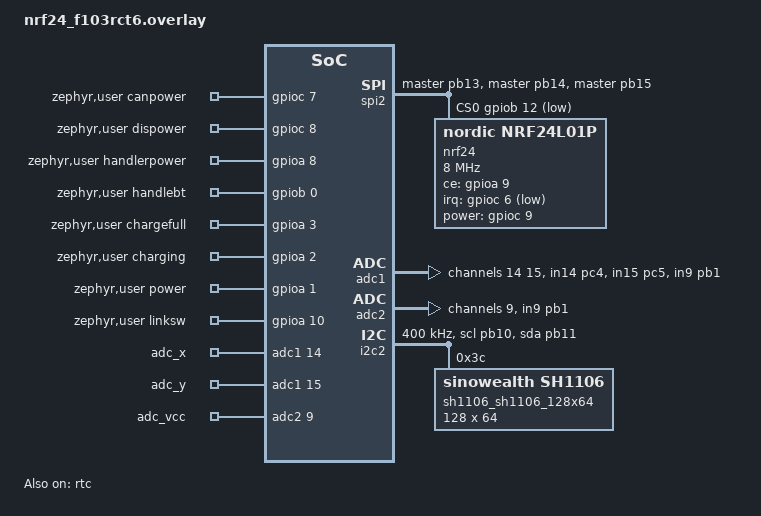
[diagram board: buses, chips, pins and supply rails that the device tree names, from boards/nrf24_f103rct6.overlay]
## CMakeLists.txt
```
# SPDX-License-Identifier: Apache-2.0

cmake_minimum_required(VERSION 3.20.0)

find_package(Zephyr REQUIRED HINTS $ENV{ZEPHYR_BASE})
project(angle_handler)

target_include_directories(app PRIVATE include)
target_sources(app PRIVATE
  src/adc.c
  src/can.c
  src/common.c
  src/display.c
  src/font_8x16.c
  src/font_5x8.c
  src/gpio.c
  src/rf24.c
  src/main.c
  src/persist.c
)
target_sources_ifdef(CONFIG_SHELL app PRIVATE
  src/rf24_shell.c
)
```

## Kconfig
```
# SPDX-License-Identifier: Apache-2.0
# angle-handler application configuration

mainmenu "angle-handler"

source "Kconfig.zephyr"

config ANGLE_HANDLER_ROW0_ASCII
	bool "Row 0 uses ASCII text instead of icons for connection type"
	default y
	help
	  Display "LoRa"/"CAN" text in Row 0 instead of bitmap icons.

config ANGLE_HANDLER_SCANNER_8X16
	bool "Use 8x16 font for scanner data rows"
	default y
	help
	  Use 8x16 font for overbreak/distance/coordinate display rows.
	  Disable to use 5x8 compact font.

config ANGLE_HANDLER_SHOW_XYZ
	bool "Show XYZ coordinate rows on display"
	default n
	help
	  Display X/Y/Z coordinate rows (Row 2-3). Disable to show only
	  overbreak and laser distance.
```

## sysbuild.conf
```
SB_CONFIG_BOOTLOADER_MCUBOOT=y
SB_CONFIG_MCUBOOT_MODE_SWAP_SCRATCH=y
SB_CONFIG_BOOT_SIGNATURE_KEY_FILE="${APP_DIR}/boards/nrf24_f103rct6.pem"
```

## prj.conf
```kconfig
CONFIG_MAIN_STACK_SIZE=2048
CONFIG_SYSTEM_WORKQUEUE_STACK_SIZE=2048
# shell
CONFIG_SHELL=y
CONFIG_FLASH_MAP_SHELL=y
CONFIG_FLASH_SHELL=y

CONFIG_SERIAL=y
CONFIG_GPIO=y
CONFIG_LOG=y
# 增大缓冲 + 缓冲满时阻塞而非丢弃 (调试高频 log 不丢)
CONFIG_LOG_BUFFER_SIZE=4096
CONFIG_LOG_BLOCK_IN_THREAD=y

# 软件栈溢出检测 (Cortex-M3 无 SPLIM, 板级未开 ARM_MPU, 故 HW_STACK_PROTECTION
# 无效; STACK_SENTINEL 在线程栈底埋 magic, 上下文切换/中断退出时检查,
# 踩踏 → K_ERR_STACK_CHK_FAIL fatal)
CONFIG_STACK_SENTINEL=y

# can
CONFIG_CAN=y
CONFIG_CAN_SHELL=y
CONFIG_CAN_FW_UPGRADE=y

# spi + nRF24L01+ 2.4G 无线
CONFIG_SPI=y
CONFIG_NRF24L01P=y

# nRF24 链路层 XXTEA-CTR 加密 (用 rf24 地址作密钥; 须与 n2e-gw 同时开关)
CONFIG_NRF24L01P_CRYPT=n

# adc
CONFIG_ADC=y

# img
CONFIG_IMG_MANAGER=y
CONFIG_STREAM_FLASH=y

# reboot
CONFIG_REBOOT=y

# i2c
CONFIG_I2C=y

#CRC
CONFIG_CRC=y

# hwinfo: 读 STM32 96-bit UID 派生 5B nRF24 地址 (HWINFO_STM32 默认随 SOC 自动启用)
CONFIG_HWINFO=y

# display
CONFIG_DISPLAY=y
# CONFIG_CHARACTER_FRAMEBUFFER=y

# Settings persistent storage (FCB backend)
CONFIG_SETTINGS=y
CONFIG_SETTINGS_RUNTIME=y
CONFIG_FCB=y

# PM
CONFIG_PM=y
CONFIG_PM_DEVICE=y
CONFIG_PM_DEVICE_SYSTEM_MANAGED=y
CONFIG_PM_DEVICE_SHELL=y
# 自定义 PM policy: sleeping 时无视任何定时器强制进 STOP, 保证真正进入低功耗
CONFIG_PM_POLICY_CUSTOM=y

# Display layout
CONFIG_ANGLE_HANDLER_ROW0_ASCII=y
CONFIG_ANGLE_HANDLER_SCANNER_8X16=y
# CONFIG_ANGLE_HANDLER_SHOW_XYZ is not set
```

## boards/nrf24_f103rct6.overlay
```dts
/ {
	chosen {
		zephyr,settings-partition = &cfg_partition;
		zephyr,display = &sh1106_sh1106_128x64;
	};

	zephyr,user {
		canpower-gpios = <&gpioc 7 GPIO_ACTIVE_HIGH>;
		dispower-gpios = <&gpioc 8 GPIO_ACTIVE_HIGH>;
		handlerpower-gpios = <&gpioa 8 GPIO_ACTIVE_HIGH>;

		handlebt-gpios = <&gpiob 0 GPIO_ACTIVE_HIGH>;

		chargefull-gpios = <&gpioa 3 GPIO_PULL_UP>;
		charging-gpios = <&gpioa 2 GPIO_PULL_UP>;
		power-gpios = <&gpioa 1 GPIO_PULL_UP>;
		linksw-gpios = <&gpioa 10 GPIO_PULL_UP>;

		io-channels = <&adc1 14>, <&adc1 15>, <&adc2 9>;
		io-channel-names = "adc_x", "adc_y", "adc_vcc";
	};
};

&spi2 {
	pinctrl-0 = <&spi2_sck_master_pb13
		     &spi2_miso_master_pb14
		     &spi2_mosi_master_pb15>;
	pinctrl-names = "default";
	cs-gpios = <&gpiob 12 GPIO_ACTIVE_LOW>;
	status = "okay";

	nrf24: nrf24l01p@0 {
		compatible = "nordic,nrf24l01p";
		reg = <0x0>;
		spi-max-frequency = <8000000>;
		ce-gpios = <&gpioa 9 GPIO_ACTIVE_HIGH>;
		irq-gpios = <&gpioc 6 GPIO_ACTIVE_LOW>;
		power-gpios = <&gpioc 9 GPIO_ACTIVE_HIGH>;
		channel = <1>;
		data-rate = "1m";
		tx-power = "0dbm";
		/* 半双工冲突优化: 缩短单次 TX 最坏占用 (ARD×ARC), 让冲突后更快切回
		 * PRX 给对端 ACK 机会. ARD=1500us + ARC=9 → 最坏 ~13.5ms (默认 4ms×15=60ms). */
		ard-us = <1500>;
		arc = <9>;
	};
};

&adc1 {
    status = "okay";
    pinctrl-0 = <&adc1_in14_pc4 &adc1_in15_pc5 &adc1_in9_pb1>;
    pinctrl-names = "default";
    #address-cells = <1>;
    #size-cells = <0>;

    channel@e {
        reg = <14>;
        zephyr,gain = "ADC_GAIN_1";
        zephyr,reference = "ADC_REF_INTERNAL";
        zephyr,acquisition-time = <ADC_ACQ_TIME_DEFAULT>;
        zephyr,resolution = <12>;
    };

    channel@f {
        reg = <15>;
        zephyr,gain = "ADC_GAIN_1";
        zephyr,reference = "ADC_REF_INTERNAL";
        zephyr,acquisition-time = <ADC_ACQ_TIME_DEFAULT>;
        zephyr,resolution = <12>;
    };


};
&adc2 {
    status = "okay";
    pinctrl-0 = <&adc2_in9_pb1>;
    pinctrl-names = "default";
    #address-cells = <1>;
    #size-cells = <0>;
    channel@9 {
        reg = <9>;
        zephyr,gain = "ADC_GAIN_1";
        zephyr,reference = "ADC_REF_INTERNAL";
        zephyr,acquisition-time = <ADC_ACQ_TIME_DEFAULT>;
        zephyr,resolution = <12>;
    };
};

&rtc {
    clocks = <&rcc STM32_CLOCK_BUS_APB1 0x10000000>,
             <&rcc STM32_SRC_LSI RTC_SEL(2)>;
    status = "okay";
};

/* OLED 显示 (SH1106 @ 0x3C, I2C2, 400kHz 快速模式) */
&i2c2 {
	clock-frequency = <400000>;
	pinctrl-0 = <&i2c2_scl_pb10 &i2c2_sda_pb11>;
	pinctrl-1 = <&analog_pb11 &analog_pb11>;
	pinctrl-names = "default", "sleep";
	status = "okay";

	sh1106_sh1106_128x64: ssd1306@3c {
		compatible = "sinowealth,sh1106";
		reg = <0x3c>;
		width = <128>;
		height = <64>;
		segment-offset = <2>;
		page-offset = <0>;
		display-offset = <0>;
		multiplex-ratio = <63>;
		segment-remap;
		com-invdir;
		prechargep = <0x22>;
		ready-time-ms = <100>;
	};
};

/* PM 低功耗状态: 外设电源由应用层 system_sleep/system_wake 管理 (GPIO 断电),
 * PM 子系统进 STOP 时挂起设备 (I2C2 经 sleep pinctrl 切 analog 释放总线,
 * 唤醒后自动恢复) —— 防止 OLED 断电期间 I2C 总线被拉低卡死、唤醒后无法恢复。 */
&stop0 {
};

&stop1 {
};
```

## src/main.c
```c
/*
 * Copyright (c) 2026 Kabirz.
 * SPDX-License-Identifier: Apache-2.0
 *
 * 主入口 + 主循环 (休眠/唤醒事件驱动, 10 分钟无操作自动休眠)
 */

#include <zephyr/app_version.h>
#include <fw_gitver.h>
#ifndef CONFIG_FLASH_SIZE
#define CONFIG_FLASH_SIZE 0x1000
#endif
#include <zephyr/logging/log.h>
#include <common.h>
#include <mod-can.h>
#include <display.h>
#include <mod-gpio.h>
#include <rf24.h>
#include <zephyr/settings/settings.h>

LOG_MODULE_REGISTER(main_app, LOG_LEVEL_INF);

#define ACTIVITY_TIMEOUT_MS (10 * 60 * 1000) /* 10 minutes */

volatile uint32_t last_activity_time;
extern int adc_init_channels(void);

int main(void)
{
	LOG_INF("build time: %s-%s", __DATE__, __TIME__);
	LOG_INF("board: %s, system clk: %dMHz", CONFIG_BOARD_TARGET,
		CONFIG_SYS_CLOCK_HW_CYCLES_PER_SEC / MHZ(1));
	LOG_INF("flash size: %dKB, ram size: %dKB", CONFIG_FLASH_SIZE, CONFIG_SRAM_SIZE);
	LOG_INF("version: v%d.%d.%d_%s", APP_VERSION_MAJOR, APP_VERSION_MINOR,
		APP_PATCHLEVEL, FW_GIT_VERSION);

	last_activity_time = k_uptime_get_32();
	adc_init_channels();
	gpio_init();

	settings_load();

	connect_switch(global_params.connect_type);

	while (1) {
		if (atomic_get(&global_params.sleeping)) {
			k_event_wait(&global_params.event, WAKE_EVENT, false, K_FOREVER);
			continue;
		}

		if ((k_uptime_get_32() - last_activity_time) > ACTIVITY_TIMEOUT_MS) {
			system_sleep();
			LOG_INF("system entering sleep (inactivity timeout)");
			continue;
		}

		k_sleep(K_MSEC(500));
	}

	return 0;
}
```

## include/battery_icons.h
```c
// ============================================================
// Battery Icons for SH1106 Display (24x16, icon 24x10 centered)
// Format: Column-major, page-interleaved, LSB=top pixel
// 2 pages x 24 columns = 48 bytes per icon
// ============================================================

#ifndef BATTERY_ICONS_H
#define BATTERY_ICONS_H

#include <stdint.h>

#define BATTERY_ICON_W  24
#define BATTERY_ICON_H  16
#define BATTERY_ICON_PAGES  2
#define BATTERY_ICON_SIZE  (48)

// battery_levels[level] : level 0..4
// Data order: page0 cols[0..23] then page1 cols[0..23]
// [0] = battery_0
//     ........................
//     ........................
//     ........................
//     ######################..
//     #....................#..
//     #....................###
//     #....................###
//     #....................###
//     #....................###
//     #....................###
//     #....................###
//     #....................#..
//     ######################..
//     ........................
//     ........................
//     ........................
// [1] = battery_1
//     ........................
//     ........................
//     ........................
//     ######################..
//     #####................#..
//     #####................###
//     #####................###
//     #####................###
//     #####................###
//     #####................###
//     #####................###
//     #####................#..
//     ######################..
//     ........................
//     ........................
//     ........................
// [2] = battery_2
//     ........................
//     ........................
//     ........................
//     ######################..
//     #####.####...........#..
//     #####.####...........###
//     #####.####...........###
//     #####.####...........###
//     #####.####...........###
//     #####.####...........###
//     #####.####...........###
//     #####.####...........#..
//     ######################..
//     ........................
//     ........................
//     ........................
// [3] = battery_3
//     ........................
//     ........................
//     ........................
//     ######################..
//     #####.####.####......#..
//     #####.####.####......###
//     #####.####.####......###
//     #####.####.####......###
//     #####.####.####......###
//     #####.####.####......###
//     #####.####.####......###
//     #####.####.####......#..
//     ######################..
//     ........................
//     ........................
//     ........................
// [4] = battery_4
//     ........................
//     ........................
//     ........................
//     ######################..
//     #####.####.####.####.#..
//     #####.####.####.####.###
//     #####.####.####.####.###
//     #####.####.####.####.###
//     #####.####.####.####.###
//     #####.####.####.####.###
//     #####.####.####.####.###
//     #####.####.####.####.#..
//     ######################..
//     ........................
//     ........................
//     ........................
const uint8_t battery_levels[5][48] = {
    { // [0] level 0
        0xF8, 0x08, 0x08, 0x08, 0x08, 0x08, 0x08, 0x08, 0x08, 0x08, 0x08, 0x08,
        0x08, 0x08, 0x08, 0x08, 0x08, 0x08, 0x08, 0x08, 0x08, 0xF8, 0xE0, 0xE0,
        0x1F, 0x10, 0x10, 0x10, 0x10, 0x10, 0x10, 0x10, 0x10, 0x10, 0x10, 0x10,
        0x10, 0x10, 0x10, 0x10, 0x10, 0x10, 0x10, 0x10, 0x10, 0x1F, 0x07, 0x07
    },
    { // [1] level 1
        0xF8, 0xF8, 0xF8, 0xF8, 0xF8, 0x08, 0x08, 0x08, 0x08, 0x08, 0x08, 0x08,
        0x08, 0x08, 0x08, 0x08, 0x08, 0x08, 0x08, 0x08, 0x08, 0xF8, 0xE0, 0xE0,
        0x1F, 0x1F, 0x1F, 0x1F, 0x1F, 0x10, 0x10, 0x10, 0x10, 0x10, 0x10, 0x10,
        0x10, 0x10, 0x10, 0x10, 0x10, 0x10, 0x10, 0x10, 0x10, 0x1F, 0x07, 0x07
    },
    { // [2] level 2
        0xF8, 0xF8, 0xF8, 0xF8, 0xF8, 0x08, 0xF8, 0xF8, 0xF8, 0xF8, 0x08, 0x08,
        0x08, 0x08, 0x08, 0x08, 0x08, 0x08, 0x08, 0x08, 0x08, 0xF8, 0xE0, 0xE0,
        0x1F, 0x1F, 0x1F, 0x1F, 0x1F, 0x10, 0x1F, 0x1F, 0x1F, 0x1F, 0x10, 0x10,
        0x10, 0x10, 0x10, 0x10, 0x10, 0x10, 0x10, 0x10, 0x10, 0x1F, 0x07, 0x07
    },
    { // [3] level 3
        0xF8, 0xF8, 0xF8, 0xF8, 0xF8, 0x08, 0xF8, 0xF8, 0xF8, 0xF8, 0x08, 0xF8,
        0xF8, 0xF8, 0xF8, 0x08, 0x08, 0x08, 0x08, 0x08, 0x08, 0xF8, 0xE0, 0xE0,
        0x1F, 0x1F, 0x1F, 0x1F, 0x1F, 0x10, 0x1F, 0x1F, 0x1F, 0x1F, 0x10, 0x1F,
        0x1F, 0x1F, 0x1F, 0x10, 0x10, 0x10, 0x10, 0x10, 0x10, 0x1F, 0x07, 0x07
    },
    { // [4] level 4
        0xF8, 0xF8, 0xF8, 0xF8, 0xF8, 0x08, 0xF8, 0xF8, 0xF8, 0xF8, 0x08, 0xF8,
        0xF8, 0xF8, 0xF8, 0x08, 0xF8, 0xF8, 0xF8, 0xF8, 0x08, 0xF8, 0xE0, 0xE0,
        0x1F, 0x1F, 0x1F, 0x1F, 0x1F, 0x10, 0x1F, 0x1F, 0x1F, 0x1F, 0x10, 0x1F,
        0x1F, 0x1F, 0x1F, 0x10, 0x1F, 0x1F, 0x1F, 0x1F, 0x10, 0x1F, 0x07, 0x07
    }
};

#define CHARGING_ICON_W  16
#define CHARGING_ICON_H  16
#define CHARGING_ICON_PAGES  2
#define CHARGING_ICON_SIZE  (32)
// icon_charging
// ................
// ................
// ................
// ................
// .......##.......
// ......##........
// .....##.........
// ....######......
// ........##......
// .......##.......
// ......##........
// .....##.........
// ................
// ................
// ................
// ................
const uint8_t icon_charging[32] = {
        0x00, 0x00, 0x00, 0x00, 0x80, 0xC0, 0xE0, 0xB0, 0x90, 0x80, 0x00, 0x00, 0x00, 0x00, 0x00, 0x00,
        0x00, 0x00, 0x00, 0x00, 0x00, 0x08, 0x0C, 0x06, 0x03, 0x01, 0x00, 0x00, 0x00, 0x00, 0x00, 0x00
};

#endif // BATTERY_ICONS_H
```

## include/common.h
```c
#ifndef _MOD_COMMON_H
#define _MOD_COMMON_H

#include <zephyr/kernel.h>

typedef enum {
	BATTERY_STATUS_UNKNOWN = 0,
	BATTERY_STATUS_FULL,
	BATTERY_STATUS_CHARGING,
	BATTERY_STATUS_NOT_CHARGING,
	BATTERY_STATUS_DISCHARGING,
} battery_status_t;

typedef struct {
	int8_t overbreak_valid;
	int32_t overbreak_value;
	int8_t laser_valid;
	int32_t laser_distance;
	int8_t coord_xy_valid;
	int32_t coord_x;
	int32_t coord_y;
	int8_t coord_z_valid;
	int32_t coord_z;
} scanner_data_t;

#define WAKE_EVENT     BIT(0)
#define CAN_EVENT      BIT(2)
#define RF24_EVENT     BIT(3) /* 2.4G (nRF24L01+) 无线模式事件 */

typedef struct {
	int x_degree;
	int y_degree;
	uint8_t h_button;
	uint32_t power_mv;
#define CAN_TYPE   1
#define RF24_TYPE  2 /* 2.4G (nRF24L01+) 无线模式 */
#define REPORT_PERIOD_MS 800   /* 周期状态上报间隔，CAN/RF24 共用 */
	uint8_t connect_type;
	uint32_t report_period;
	battery_status_t battery_status;
	scanner_data_t scanner;
	uint8_t rssi;
	atomic_t sleeping;
	struct k_event event;
	bool log;
	bool adc_debug;   /* ADC 原始电压采样详细日志开关 (shell: adc log [0/1]) */
#define RF24_ADDR_LEN 5
#define RF24_FIXED_CH  1   /* nRF24 信道固定为 1, 不可配 */
	uint8_t rf24_addr[RF24_ADDR_LEN];
} global_params_t;

extern global_params_t global_params;

/* 按 connect_type 发送指定数据（CAN 帧 HANDLER_STATE / RF24 遥测）。
 * data/len 由调用方组装（CAN 通常 8 字节，RF24 7 字节）。返回 0 成功，<0 失败。
 */
int send_handler_state(const uint8_t *data, uint8_t len);

extern volatile uint32_t last_activity_time;

#endif
```

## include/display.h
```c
#ifndef _MOD_DISPLAY_H
#define _MOD_DISPLAY_H
#include <common.h>

void mod_display_reinit(void);
int mod_display_init(void);
void mod_display_clear(void);
/* 2.4G (nRF24L01+) 无线模式信号显示 */
void mod_display_rf24(uint8_t rssi);
void mod_display_battery(uint32_t mv, battery_status_t status);
void mod_display_can(void);

void mod_display_scanner(const scanner_data_t *s);
void mod_display_all(const global_params_t *params);

#endif
```

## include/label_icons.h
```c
// ============================================================
// Label Icons for SH1106 Display (8x16, content 8x10 centered)
// Format: page0 cols[0..7] then page1 cols[0..7]
// 2 pages x 8 columns = 16 bytes per icon
// ============================================================

#ifndef LABEL_ICONS_H
#define LABEL_ICONS_H

#include <stdint.h>

#define LABEL_ICON_W  8
#define LABEL_ICON_H  16
#define LABEL_ICON_PAGES  2
#define LABEL_ICON_SIZE  (16)

// label_can
//     ........
//     ........
//     ........
//     ########
//     ##...###
//     #.###.##
//     #.######
//     #.######
//     #.######
//     #.###.##
//     ##...###
//     ########
//     ########
//     ........
//     ........
//     ........
const uint8_t label_can[16] = {
        0xF8, 0x18, 0xE8, 0xE8, 0xE8, 0xD8, 0xF8, 0xF8, 0x1F, 0x1C, 0x1B, 0x1B, 0x1B, 0x1D, 0x1F, 0x1F
};

// label_rf24 (2.4G 无线图标)
//     ........
//     ........
//     ........
//     ########
//     #.######
//     #.######
//     #.######
//     #.######
//     #.######
//     #.######
//     #.....##
//     ########
//     ########
//     ........
//     ........
//     ........
const uint8_t label_rf24[16] = {
        0xF8, 0x08, 0xF8, 0xF8, 0xF8, 0xF8, 0xF8, 0xF8, 0x1F, 0x18, 0x1B, 0x1B, 0x1B, 0x1B, 0x1F, 0x1F
};

#endif // LABEL_ICONS_H
```

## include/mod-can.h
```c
#ifndef __MOD_CAN_H__
#define __MOD_CAN_H__

#include <zephyr/kernel.h>
#include <zephyr/drivers/can.h>
#include <common.h>

enum {
	RF24_CONFIG_CMD = 0x110,    /* 平台→手柄: 查询 rf24 地址 (信道固定为 1) */
	RF24_CONFIG_RESP = 0x111,   /* 手柄→平台: rf24 配置响应 */
	COBID_HEATBEAT = 0x763,
	TEST_FRAME = 0x777,
	HANDLER_STATE = 0x1E3,
	OVERBREAK_LASER = 0x263,
	COORD_XY = 0x363,
	COORD_Z = 0x463,
};

/* RF24_CONFIG_CMD 命令类型 */
enum rf24_config_cmd {
	RF24_CMD_GET_CONFIG = 0x02,  /* 查询配置: [cmd 1B][reserved 7B] */
};

int mod_can_send(struct can_frame *frame);

/**
 * @brief 解析扫描仪 CAN 数据 (0x263/0x363/0x463)
 *
 * @param frame CAN 接收帧
 */
void mod_can_parse_scanner(struct can_frame *frame);

#endif
```

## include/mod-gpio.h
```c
#ifndef __MOD_GPIO_H__
#define __MOD_GPIO_H__
#include <stdbool.h>
#include <common.h>
battery_status_t read_battery_status(void);
int gpio_init(void);
void connect_switch(uint8_t type);
void can_power_enable(bool up);
void dis_power_enable(bool up);
void handler_power_enable(bool up);
int handler_get_btn(void);
void system_sleep(void);
#endif
```

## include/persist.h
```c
/*
 * Copyright (c) 2026 Kabirz.
 * SPDX-License-Identifier: Apache-2.0
 *
 * Settings 持久化存储接口 - 使用 Zephyr settings 子系统 (FCB 后端)
 * 存储到外部 SPI Flash (GD25Q80) 的 cfg_partition
 */

#ifndef __PERSIST_H__
#define __PERSIST_H__

/** 保存当前 connect_type 到 settings */
void persist_save_connect_type(void);

/** 保存当前 rf24_addr 到 settings (信道固定为 1, 不持久化) */
void persist_save_rf24_config(void);

#endif
```

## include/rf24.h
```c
/*
 * Copyright (c) 2026 Kabirz.
 * SPDX-License-Identifier: Apache-2.0
 *
 * 2.4G 无线通信接口 (nRF24L01+)
 *
 * 帧格式 (单包 ≤ 32B): [CAN ID 2B BE][payload 0~30B]
 *   - 发送 (手柄→网关): ID = HANDLER_STATE (0x1E3),
 *     payload = [x 2B BE][y 2B BE][btn 1B][0xFF][0xFF][0xFF]
 *   - 接收 (网关→手柄): 按 CAN ID 分发到 mod_can_parse_scanner()
 *     (支持 OVERBREAK_LASER / COORD_XY / COORD_Z)
 */

#ifndef __RF24_H__
#define __RF24_H__

#include <stdbool.h>
#include <stddef.h>
#include <stdint.h>
#include <common.h>

/**
 * @brief nRF24L01+ 运行时初始化 (进入 PRX 接收模式, CE 拉高)
 *
 * 用于 CAN/2.4G 切换和系统唤醒. 设备由 SYS_INIT(POST_KERNEL) 自动初始化,
 * 本函数仅切换到接收模式.
 */
void rf24_init(void);

/**
 * @brief nRF24L01+ 去初始化 (进入 POWER_DOWN)
 *
 * 用于 CAN/2.4G 切换和系统休眠.
 */
void rf24_deinit(void);

/**
 * @brief 发送一帧 [CAN ID][数据] (2.4G 模式)
 *
 * @param can_id CAN 标识符 (写入帧头 2B BE)
 * @param data   载荷数据 (最多 30 字节)
 * @param len    载荷长度
 * @return true 发送成功, false 长度非法或发送失败
 */
bool rf24_data_send(uint16_t can_id, const uint8_t *data, size_t len);

/**
 * @brief 2.4G 链路状态
 *
 * nRF24L01+ 无硬件链路指示, 简化为常返回 true (假设在线).
 *
 * @return true
 */
bool rf24_get_link_status(void);

/**
 * @brief 测试帧 (TEST_FRAME 0x777) 接收回调 (rf24_shell.c 实现)
 *
 * 由 rf24.c RX 线程在收到 TEST_FRAME 时调用. 载荷为 [sub_cmd 1B][...].
 */
void rf24_test_handle_rx(const uint8_t *data, uint8_t len);

#endif /* __RF24_H__ */
```

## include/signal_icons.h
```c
// ============================================================
// Signal Icons for SH1106 Display (16x16)
// Format: page0 cols[0..15] then page1 cols[0..15]
// 2 pages x 16 columns = 32 bytes per icon
// ============================================================

#ifndef SIGNAL_ICONS_H
#define SIGNAL_ICONS_H

#include <stdint.h>

#define SIGNAL_ICON_W  16
#define SIGNAL_ICON_H  16
#define SIGNAL_ICON_PAGES  2
#define SIGNAL_ICON_SIZE  (32)

// signal_levels[level] : level 0..4
// Bar heights: 2, 4, 6, 8 px (bottom aligned)
// [0] level 0
//     ................
//     ................
//     ................
//     ................
//     ....##...##.....
//     .....##.##......
//     ......###.......
//     .......#........
//     ......###.......
//     .....##.##......
//     ....##...##.....
//     ................
//     ................
//     ................
//     ................
//     ................
// [1] level 1
//     ................
//     ................
//     ................
//     ................
//     ................
//     ................
//     ................
//     ................
//     ................
//     ................
//     ................
//     ..##............
//     ..##............
//     ................
//     ................
//     ................
// [2] level 2
//     ................
//     ................
//     ................
//     ................
//     ................
//     ................
//     ................
//     ................
//     ................
//     .....##.........
//     .....##.........
//     ..##.##.........
//     ..##.##.........
//     ................
//     ................
//     ................
// [3] level 3
//     ................
//     ................
//     ................
//     ................
//     ................
//     ................
//     ................
//     ........##......
//     ........##......
//     .....##.##......
//     .....##.##......
//     ..##.##.##......
//     ..##.##.##......
//     ................
//     ................
//     ................
// [4] level 4
//     ................
//     ................
//     ................
//     ................
//     ................
//     ...........##...
//     ...........##...
//     ........##.##...
//     ........##.##...
//     .....##.##.##...
//     .....##.##.##...
//     ..##.##.##.##...
//     ..##.##.##.##...
//     ................
//     ................
//     ................
const uint8_t signal_levels[5][32] = {
    { // [0] level 0
        0x00, 0x00, 0x00, 0x00, 0x10, 0x30, 0x60, 0xC0, 0x60, 0x30, 0x10, 0x00, 0x00, 0x00, 0x00, 0x00,
        0x00, 0x00, 0x00, 0x00, 0x04, 0x06, 0x03, 0x01, 0x03, 0x06, 0x04, 0x00, 0x00, 0x00, 0x00, 0x00
    },
    { // [1] level 1
        0x00, 0x00, 0x00, 0x00, 0x00, 0x00, 0x00, 0x00, 0x00, 0x00, 0x00, 0x00, 0x00, 0x00, 0x00, 0x00,
        0x00, 0x00, 0x18, 0x18, 0x00, 0x00, 0x00, 0x00, 0x00, 0x00, 0x00, 0x00, 0x00, 0x00, 0x00, 0x00
    },
    { // [2] level 2
        0x00, 0x00, 0x00, 0x00, 0x00, 0x00, 0x00, 0x00, 0x00, 0x00, 0x00, 0x00, 0x00, 0x00, 0x00, 0x00,
        0x00, 0x00, 0x18, 0x18, 0x00, 0x1E, 0x1E, 0x00, 0x00, 0x00, 0x00, 0x00, 0x00, 0x00, 0x00, 0x00
    },
    { // [3] level 3
        0x00, 0x00, 0x00, 0x00, 0x00, 0x00, 0x00, 0x00, 0x80, 0x80, 0x00, 0x00, 0x00, 0x00, 0x00, 0x00,
        0x00, 0x00, 0x18, 0x18, 0x00, 0x1E, 0x1E, 0x00, 0x1F, 0x1F, 0x00, 0x00, 0x00, 0x00, 0x00, 0x00
    },
    { // [4] level 4
        0x00, 0x00, 0x00, 0x00, 0x00, 0x00, 0x00, 0x00, 0x80, 0x80, 0x00, 0xE0, 0xE0, 0x00, 0x00, 0x00,
        0x00, 0x00, 0x18, 0x18, 0x00, 0x1E, 0x1E, 0x00, 0x1F, 0x1F, 0x00, 0x1F, 0x1F, 0x00, 0x00, 0x00
    }
};

#endif // SIGNAL_ICONS_H
```

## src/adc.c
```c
/*
 * Copyright (c) 2026 Kabirz.
 * SPDX-License-Identifier: Apache-2.0
 *
 * ADC 操纵杆角度采集 + 电源电压采样
 * 基于 Zephyr ADC API, 500ms 周期采集 X/Y 角度, 2s 周期采集电压
 */

#include <zephyr/kernel.h>
#include <zephyr/logging/log.h>
#include <zephyr/sys/util.h>
#include <zephyr/sys/byteorder.h>
#include <zephyr/drivers/adc.h>
#include <zephyr/shell/shell.h>
#include <stdlib.h>
#include <common.h>
#include <display.h>
#include <mod-gpio.h>

LOG_MODULE_REGISTER(adc_reader, LOG_LEVEL_INF);

#define CAN_SLEEP_MS  20
#define RF24_SLEEP_MS 50
#define DT_SPEC_AND_COMMA(node_id, prop, idx) ADC_DT_SPEC_GET_BY_IDX(node_id, idx),

static const struct adc_dt_spec adc_channels[] = {
	DT_FOREACH_PROP_ELEM(DT_PATH(zephyr_user), io_channels, DT_SPEC_AND_COMMA)};


int adc_init_channels(void)
{
	int ret;

	for (size_t i = 0U; i < ARRAY_SIZE(adc_channels); i++) {
		if (!device_is_ready(adc_channels[i].dev)) {
			LOG_ERR("ADC device not ready");
			return -ENODEV;
		}

		ret = adc_channel_setup_dt(&adc_channels[i]);
		if (ret < 0) {
			LOG_ERR("Could not setup channel #%d (%d)", adc_channels[i].channel_id,
				ret);
			return ret;
		}
	}

	LOG_INF("ADC channels configured successfully");

	return ret;
}

/* 去除两个极值后求平均值 */
static int32_t trim_avg(int32_t *samples, int count)
{
	int32_t min_v = samples[0];
	int32_t max_v = samples[0];
	int32_t sum = 0;

	for (int i = 0; i < count; i++) {
		if (samples[i] < min_v) {
			min_v = samples[i];
		}
		if (samples[i] > max_v) {
			max_v = samples[i];
		}
		sum += samples[i];
	}
	return (sum - min_v - max_v) / (count - 2);
}

void adc_read_thread(void)
{
	int ret;
	uint16_t buf;
	struct adc_sequence sequence = {.buffer = &buf, .buffer_size = sizeof(buf)};
	int32_t val_mv;

	#define XY_SAMPLE_COUNT 10
	static int32_t x_samples[XY_SAMPLE_COUNT];
	static int32_t y_samples[XY_SAMPLE_COUNT];
	static int xy_sample_idx = 0;

	LOG_INF("ADC read thread started");

	while (true) {
		if (atomic_get(&global_params.sleeping)) {
			k_event_wait(&global_params.event, WAKE_EVENT, false, K_FOREVER);
			continue;
		}
		uint32_t t1 = k_uptime_get_32();

		/* 连续快速采集 10 次 X/Y */
		for (xy_sample_idx = 0; xy_sample_idx < XY_SAMPLE_COUNT; xy_sample_idx++) {
			for (size_t i = 0U; i < ARRAY_SIZE(adc_channels) - 1; i++) {
				(void)adc_sequence_init_dt(&adc_channels[i], &sequence);
				ret = adc_read_dt(&adc_channels[i], &sequence);
				if (ret < 0) {
					LOG_ERR("Could not read (%d)", ret);
					continue;
				}
				val_mv = (int32_t)buf;

				ret = adc_raw_to_millivolts_dt(&adc_channels[i], &val_mv);
				if (ret < 0) {
					LOG_ERR(" (value in mV not available)");
				}
				/* ADC 直读电压 (无分压网络) 300~2700mV → -200~+200 (0.1° 单位) */
				if (i == 0) {
					x_samples[xy_sample_idx] =
						(CLAMP(val_mv, 300, 2700) - 300) * 400 / 2400 - 200;
					if (global_params.adc_debug) {
						LOG_INF("x: %d mv, degree: %d (0.1deg)", val_mv,
							x_samples[xy_sample_idx]);
					}
				} else {
					y_samples[xy_sample_idx] =
						(CLAMP(val_mv, 300, 2700) - 300) * 400 / 2400 - 200;
					if (global_params.adc_debug) {
						LOG_INF("y: %d mv, degree: %d (0.1deg)", val_mv,
							y_samples[xy_sample_idx]);
					}
				}
			}
			k_usleep(500);
		}

		/* 平均后按 1° 量化, 再 ×10 以 0.1° 单位上报 (trim_avg 返回 0.1° 单位,
		 * /10 取整后 ×10; ADC 实际精度达不到 0.1°, 故不保留个位小数).
		 * 死区: 平均值落在 (-1°, +1°) 即 (-10, +10) 的 0.1° 值统一归 0°,
		 * 消除摇杆居中时的微小抖动. */
		int x_avg = trim_avg(x_samples, XY_SAMPLE_COUNT);
		int y_avg = trim_avg(y_samples, XY_SAMPLE_COUNT);
		int x_degree = (x_avg > -10 && x_avg < 10) ? 0 : x_avg / 10 * 10;
		int y_degree = (y_avg > -10 && y_avg < 10) ? 0 : y_avg / 10 * 10;

		if (x_degree != global_params.x_degree ||
		    y_degree != global_params.y_degree) {
			last_activity_time = k_uptime_get_32();
			global_params.x_degree = x_degree;
			global_params.y_degree = y_degree;
		}

		/* 上报 */
		uint8_t buf[8];
		sys_put_be16((uint16_t)global_params.x_degree, &buf[0]);
		sys_put_be16((uint16_t)global_params.y_degree, &buf[2]);
		buf[4] = global_params.h_button;
		buf[5] = buf[6] = buf[7] = 0xff;
		if (global_params.log) {
			LOG_INF("x: %d (0.1deg), y: %d (0.1deg), button: %d",
				global_params.x_degree, global_params.y_degree, global_params.h_button);
		}
		send_handler_state(buf, 8);
		uint32_t diff = k_uptime_get_32() - t1;
		uint32_t sleep_ms = global_params.connect_type == CAN_TYPE ? CAN_SLEEP_MS : RF24_SLEEP_MS;
		if (diff < sleep_ms) {
			k_sleep(K_MSEC(sleep_ms - diff));
		}
	}
}
K_THREAD_DEFINE(thread_adc, 1024, adc_read_thread, NULL, NULL, NULL, 7, 0, 0);

void adc_power_thread(void)
{
	int ret;
	uint16_t buf;
	struct adc_sequence sequence = {.buffer = &buf, .buffer_size = sizeof(buf)};
	int32_t val_mv, power_mv = 0;
	static const struct adc_dt_spec *adc_voltage_channel = &adc_channels[ARRAY_SIZE(adc_channels) - 1];
	#define POWER_SAMPLE_COUNT 10
	static int32_t power_samples[POWER_SAMPLE_COUNT];
	static int power_sample_idx = 0;


	LOG_INF("ADC power thread started");
	(void)adc_sequence_init_dt(adc_voltage_channel, &sequence);

	while (true) {
		if (atomic_get(&global_params.sleeping)) {
			k_event_wait(&global_params.event, WAKE_EVENT, false, K_FOREVER);
			continue;
		}

		ret = adc_read_dt(adc_voltage_channel, &sequence);
		if (ret < 0) {
			LOG_ERR("Could not read power channel (%d)", ret);
		} else {
			val_mv = (int32_t)buf;
			ret = adc_raw_to_millivolts_dt(adc_voltage_channel, &val_mv);
			if (ret == 0) {
				power_samples[power_sample_idx] = val_mv * 2;
				power_sample_idx++;
			}
		}

		if (power_sample_idx >= POWER_SAMPLE_COUNT) {
			power_mv = trim_avg(power_samples, POWER_SAMPLE_COUNT);
			power_sample_idx = 0;

			battery_status_t battery_status = read_battery_status();
			if (power_mv != global_params.power_mv ||
			    global_params.battery_status != battery_status) {
				mod_display_battery(power_mv, battery_status);
				global_params.power_mv = power_mv;
				global_params.battery_status = battery_status;
			}
		}

		k_sleep(K_MSEC(200));
	}
}

K_THREAD_DEFINE(thread_adc_power, 1024, adc_power_thread, NULL, NULL, NULL, 8, 0, 0);

#ifdef CONFIG_SHELL

/* adc log [0/1] — 手动开关 ADC 原始电压采样日志 (val[i]: <mv>).
 * 默认编译期 LOG_LEVEL_INF 不打印每通道原始值, 此开关运行时打开用于调试. */
static int cmd_adc_log(const struct shell *ctx, size_t argc, char **argv)
{
	if (argc < 2) {
		shell_print(ctx, "adc log: %s", global_params.adc_debug ? "on" : "off");
		return 0;
	}
	int val = (int)strtol(argv[1], NULL, 10);

	global_params.adc_debug = (val != 0);
	shell_print(ctx, "adc log: %s", global_params.adc_debug ? "on" : "off");
	return 0;
}

SHELL_STATIC_SUBCMD_SET_CREATE(
	sub_adc_cmds,
	SHELL_CMD_ARG(log, NULL, "Enable/disable ADC raw sample log [0/1]", cmd_adc_log, 1, 1),
	SHELL_SUBCMD_SET_END);

SHELL_CMD_REGISTER(adc, &sub_adc_cmds, "ADC sample debug commands", NULL);

#endif /* CONFIG_SHELL */
```

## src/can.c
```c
/*
 * Copyright (c) 2026 Kabirz.
 * SPDX-License-Identifier: Apache-2.0
 *
 * CAN 总线收发 + 心跳线程 + 手柄状态上报 (0x1E3 BE)
 * + 扫描仪数据解析 (0x263/0x363/0x463)
 * CAN 接收与固件升级由 can_fw_upgrade 库自包含管理;
 * 本模块仅注册业务帧 callback 并提供业务帧发送。
 */

#include <zephyr/kernel.h>
#include <mod-can.h>
#include <display.h>
#include <zephyr/sys/byteorder.h>
#include <zephyr/logging/log.h>
#include <rf24.h>
#include <common.h>
#include <persist.h>
#include <can_fw_upgrade.h>
LOG_MODULE_REGISTER(mod_can, LOG_LEVEL_INF);

static const struct device *can_dev;	/* 由 mod_can_init() 从 can_fw_set_app_handler() 获取 */

/* ================================================================
 * CAN 发送
 * ================================================================ */
static void mod_cantx_callback(const struct device *dev, int error, void *user_data)
{
	ARG_UNUSED(dev);
	ARG_UNUSED(user_data);

	if (error) {
		LOG_ERR("CAN tx error: %d", error);
	}
}

int mod_can_send(struct can_frame *frame)
{
	if (!can_dev) {
		return -ENODEV;
	}

	return can_send(can_dev, frame, K_MSEC(100), mod_cantx_callback, NULL);
}

/* ================================================================
 * 扫描仪 CAN 数据解析 — 0x263/0x363/0x463, 大端序
 * ================================================================ */
void mod_can_parse_scanner(struct can_frame *frame)
{
	scanner_data_t *s = &global_params.scanner;

	switch (frame->id) {
	case OVERBREAK_LASER:
		/* Byte 0: flags (bit0=overbreak_valid, bit1=laser_valid)
		 * Byte 1: reserved
		 * Byte 2-3: overbreak_value (int16_t BE)
		 * Byte 4-7: laser_value (uint32_t BE)
		 */
		s->overbreak_valid = (frame->data[0] & 0x01) ? 1 : -1;
		s->laser_valid = (frame->data[0] & 0x02) ? 1 : -1;
		s->overbreak_value = (int16_t)sys_get_be16(&frame->data[2]);
		s->laser_distance = (int32_t)sys_get_be32(&frame->data[4]);
		if (global_params.log) {
			LOG_INF("Overbreak: valid=%d val=%d, Laser: valid=%d val=%d", s->overbreak_valid,
				s->overbreak_value, s->laser_valid, s->laser_distance);
		}
		break;

	case COORD_XY:
		/* Byte 0-3: coordX (int32_t BE)
		 * Byte 4-7: coordY (int32_t BE)
		 */
		s->coord_x = (int32_t)sys_get_be32(&frame->data[0]);
		s->coord_y = (int32_t)sys_get_be32(&frame->data[4]);
		s->coord_xy_valid = 1;
		if (global_params.log) {
			LOG_INF("CoordXY: X=%d Y=%d", s->coord_x, s->coord_y);
		}
		return;

	case COORD_Z:
		/* Byte 0-3: coordZ (int32_t BE)
		 * Byte 4: flags (bit0: coordz_valid)
		 * Byte 5-7: reserved
		 *
		 * Z 坐标有效标志同时设置 X/Y/Z 三个坐标的有效性
		 */
		s->coord_z = (int32_t)sys_get_be32(&frame->data[0]);
		s->coord_z_valid = (frame->data[4] & 0x01) ? 1 : -1;
		s->coord_xy_valid = s->coord_z_valid;
		if (global_params.log) {
			LOG_INF("CoordZ: Z=%d valid=%d", s->coord_z, s->coord_z_valid);
		}
		return;

	default:
		return;
	}

	/* 解析完成后刷新扫描仪数据显示 */
	mod_display_scanner(s);
}

/* ================================================================
 * nRF24 配置 CAN 命令 (0x110)
 *
 * CMD GET_CONFIG (0x02): Byte 0=cmd, Byte 1-7=reserved
 * RESP (0x111): [cmd 1B][addr 5B][reserved 2B]  (信道固定为 1, 不返回)
 * ================================================================ */

static void rf24_send_config_resp(uint8_t cmd)
{
	uint8_t buf[8] = {0};

	buf[0] = cmd;
	memcpy(&buf[1], global_params.rf24_addr, RF24_ADDR_LEN);

	struct can_frame resp = {
		.id = RF24_CONFIG_RESP,
		.dlc = can_bytes_to_dlc(8),
	};

	memcpy(resp.data, buf, 8);
	int ret = mod_can_send(&resp);

	if (ret == 0) {
		LOG_INF("RF24 RESP: cmd=0x%02x addr=%02x%02x%02x%02x%02x",
			cmd,
			global_params.rf24_addr[0], global_params.rf24_addr[1],
			global_params.rf24_addr[2], global_params.rf24_addr[3],
			global_params.rf24_addr[4]);
	} else {
		LOG_ERR("RF24 RESP send failed: %d", ret);
	}
}

static void mod_can_rf24_config(struct can_frame *frame)
{
	if (frame->dlc < 1) {
		return;
	}

	uint8_t cmd = frame->data[0];

	switch (cmd) {
	case RF24_CMD_GET_CONFIG:
		rf24_send_config_resp(cmd);
		break;
	default:
		LOG_WRN("RF24 CONFIG: unknown cmd 0x%02x", cmd);
		break;
	}
}

/* ================================================================
 * 业务帧 handler (注入 can_fw_upgrade 库)
 * 库 RX 线程收到非固件升级帧时调用。
 * ================================================================ */
static bool mod_can_app_rx(struct can_frame *frame, void *user_data)
{
	ARG_UNUSED(user_data);

	switch (frame->id) {
	case OVERBREAK_LASER:
	case COORD_XY:
	case COORD_Z:
		mod_can_parse_scanner(frame);
		return true;
	case RF24_CONFIG_CMD:
		mod_can_rf24_config(frame);
		return true;
	default:
		return false;
	}
}

static int mod_can_init(void)
{
	can_dev = can_fw_set_app_handler(mod_can_app_rx, NULL);
	return 0;
}

SYS_INIT(mod_can_init, APPLICATION, 10);
```

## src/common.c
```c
/*
 * Copyright (c) 2026 Kabirz.
 * SPDX-License-Identifier: Apache-2.0
 *
 * 通用链路发送：按 connect_type 分派 CAN / 2.4G (nRF24L01+)。
 * - send_handler_state：事件驱动发送手柄状态帧 (HANDLER_STATE)，由 gpio/adc 调用。
 * - heart_thread：周期发送心跳保活帧 (COBID_HEATBEAT)，CAN/RF24 共用。
 */

#include <zephyr/kernel.h>
#include <zephyr/drivers/can.h>
#include <zephyr/sys/byteorder.h>
#include <string.h>
#include <zephyr/logging/log.h>
#include <common.h>
#include <mod-can.h>
#include <rf24.h>

LOG_MODULE_REGISTER(common_link, LOG_LEVEL_INF);

/* 手柄状态帧 (HANDLER_STATE=0x1E3)：[x 2B BE][y 2B BE][btn][0xFF...]
 * CAN 用 8 字节 dlc，RF24 用 7 字节 payload（无 CAN 的末字节 0xFF）。
 */
int send_handler_state(const uint8_t *data, uint8_t len)
{
	/* 最后防线: 休眠中禁止任何链路发送 (断电后 nRF24 SPI / CAN 操作会异常) */
	if (atomic_get(&global_params.sleeping)) {
		return -EBUSY;
	}

	if (global_params.connect_type == CAN_TYPE) {
		struct can_frame frame = {
			.id = HANDLER_STATE,
			.dlc = can_bytes_to_dlc(len),
		};
		memcpy(frame.data, data, len);
		return mod_can_send(&frame);
	} else {
		return rf24_data_send(HANDLER_STATE, data, len) ? 0 : -EIO;
	}
}

/* 周期心跳保活：发送 0x763 心跳帧，按 connect_type 走 CAN/RF24。
 * 等 CAN_EVENT 或 RF24_EVENT 任一置位（connect_switch 切换时置位）。
 */
static void heart_thread(void)
{
	while (true) {
		k_event_wait(&global_params.event, CAN_EVENT | RF24_EVENT, false, K_FOREVER);
		if (atomic_get(&global_params.sleeping)) {
			k_event_wait(&global_params.event, WAKE_EVENT, false, K_FOREVER);
			continue;
		}
		/* 心跳保活帧：参照 CAN heart，帧 ID 0x763 (COBID_HEATBEAT)，数据 1 字节 (0x05) */
		uint8_t heartbeat = 5;
		if (global_params.connect_type == CAN_TYPE) {
			struct can_frame frame = {
				.id = COBID_HEATBEAT,
				.dlc = can_bytes_to_dlc(1),
			};
			frame.data[0] = heartbeat;
			mod_can_send(&frame);
		} else {
			rf24_data_send(COBID_HEATBEAT, &heartbeat, 1);
		}
		k_sleep(K_MSEC(global_params.report_period));
	}
}
K_THREAD_DEFINE(thread_heart, 1024, heart_thread, NULL, NULL, NULL, 11, 0, 0);
```
